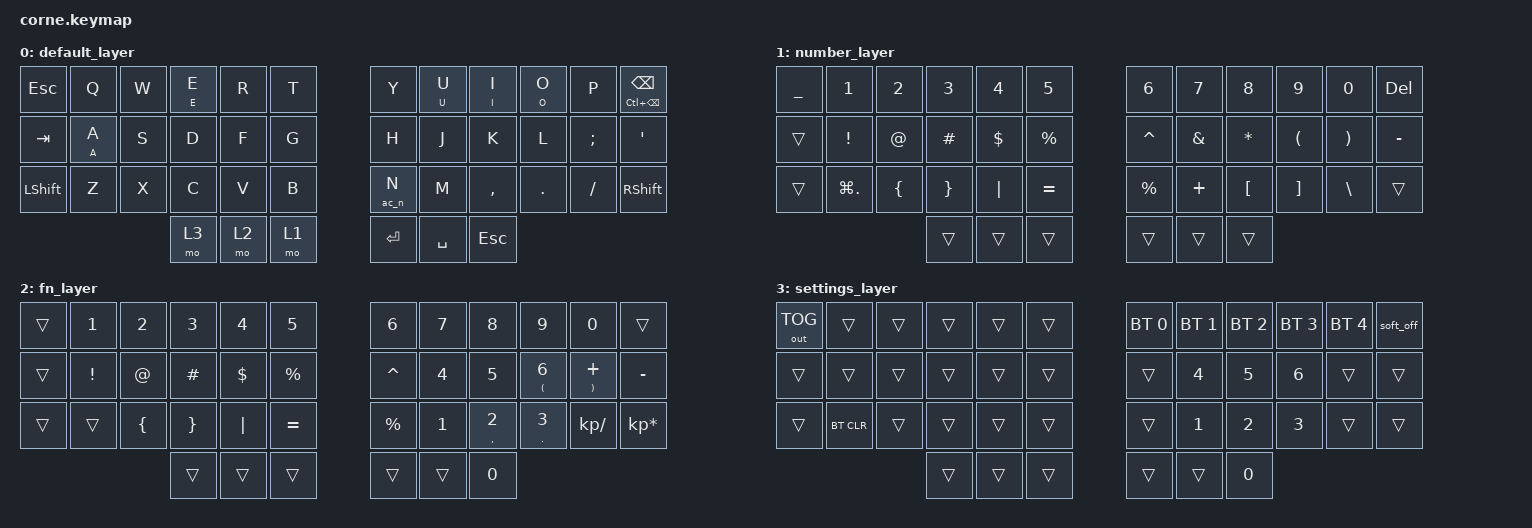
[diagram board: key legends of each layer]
/*
 * Copyright (c) 2023 The ZMK Contributors
 *
 * SPDX-License-Identifier: MIT
 */

#define ZMK_POINTING_DEFAULT_SCRL_VAL 100

#include <behaviors.dtsi>
#include <dt-bindings/zmk/bt.h>
#include <dt-bindings/zmk/keys.h>
#include <dt-bindings/zmk/outputs.h>

#define DEFAULT 0
#define NUMBER  1
#define FN  2
#define HOTKEY  3

/ {

    macros {
        // Option+E (dead acute), then the vowel → á é í ó ú
        ac_vowel: ac_vowel {
            compatible = "zmk,behavior-macro-one-param";
            #binding-cells = <1>;
            bindings
                = <&macro_press &kp LALT>
                , <&macro_tap &kp E>
                , <&macro_release &kp LALT>
                , <&macro_param_1to1>
                , <&macro_tap &kp A>;  // placeholder replaced by param
        };

        // Option+N (dead tilde), then N → ñ
        ac_n: ac_n {
            compatible = "zmk,behavior-macro-one-param";
            #binding-cells = <1>;
            bindings
                = <&macro_press &kp LALT>
                , <&macro_tap &kp N>
                , <&macro_release &kp LALT>
                , <&macro_tap &kp N>;
        };
    };

    behaviors {
        // hold = vocal acentuada, tap = vocal normal
        ht_accent: ht_accent {
            compatible = "zmk,behavior-hold-tap";
            #binding-cells = <2>;
            tapping-term-ms = <250>;
            require-prior-idle-ms = <150>;
            flavor = "tap-preferred";
            bindings = <&ac_vowel>, <&kp>;
        };

        // hold = ñ, tap = n
        ht_n: ht_n {
            compatible = "zmk,behavior-hold-tap";
            #binding-cells = <2>;
            tapping-term-ms = <250>;
            require-prior-idle-ms = <150>;
            flavor = "tap-preferred";
            bindings = <&ac_n>, <&kp>;
        };
    };

    keymap {
        compatible = "zmk,keymap";

        default_layer {
            bindings = <
&kp ESCAPE     &kp Q  &kp W  &ht_accent E E  &kp R  &kp T    &kp Y      &ht_accent U U  &ht_accent I I  &ht_accent O O  &kp P     &mt LC(BSPC) BSPC
&kp TAB        &ht_accent A A &kp S  &kp D  &kp F  &kp G    &kp H      &kp J           &kp K           &kp L           &kp SEMI  &kp SQT
&kp LSHIFT     &kp Z  &kp X  &kp C  &kp V  &kp B    &ht_n 0 N  &kp M           &kp COMMA       &kp DOT         &kp FSLH  &kp RSHFT
                              &mo 3  &mo 2  &mo 1    &kp ENTER  &kp SPACE       &kp ESCAPE
            >;
        };

        number_layer {
            bindings = <
&kp UNDER  &kp N1       &kp N2          &kp N3           &kp N4    &kp N5       &kp N6     &kp N7         &kp N8    &kp N9    &kp N0         &kp DEL
&trans     &kp EXCL     &kp AT          &kp HASH         &kp DLLR  &kp PRCNT    &kp CARET  &kp AMPERSAND  &kp STAR  &kp LPAR  &kp RPAR       &kp MINUS
&trans     &kp LG(DOT)  &kp LEFT_BRACE  &kp RIGHT_BRACE  &kp PIPE  &kp EQUAL    &kp PRCNT  &kp PLUS       &kp LBKT  &kp RBKT  &kp BACKSLASH  &trans
                                        &trans           &trans    &trans       &trans     &trans         &trans
            >;
        };

        fn_layer {
            bindings = <
&trans  &kp N1    &kp N2          &kp N3           &kp N4    &kp N5       &kp N6     &kp N7  &kp N8        &kp N9       &kp N0         &trans
&trans  &kp EXCL  &kp AT          &kp HASH         &kp DLLR  &kp PRCNT    &kp CARET  &kp N4  &kp N5        &mt LPAR N6  &mt RPAR PLUS  &kp MINUS
&trans  &trans    &kp LEFT_BRACE  &kp RIGHT_BRACE  &kp PIPE  &kp EQUAL    &kp PRCNT  &kp N1  &mt COMMA N2  &mt DOT N3   &kp KP_DIVIDE  &kp KP_MULTIPLY
                                  &trans           &trans    &trans       &trans     &trans  &kp N0
            >;
        };

        settings_layer {
            bindings = <
&out OUT_TOG  &trans      &trans  &trans  &trans  &trans    &bt BT_SEL 0  &bt BT_SEL 1  &bt BT_SEL 2  &bt BT_SEL 3  &bt BT_SEL 4  &soft_off
&trans        &trans      &trans  &trans  &trans  &trans    &trans        &kp N4        &kp N5        &kp N6        &trans        &trans
&trans        &bt BT_CLR  &trans  &trans  &trans  &trans    &trans        &kp N1        &kp N2        &kp N3        &trans        &trans
                                  &trans  &trans  &trans    &trans        &trans        &kp N0
            >;
        };
    };
};
